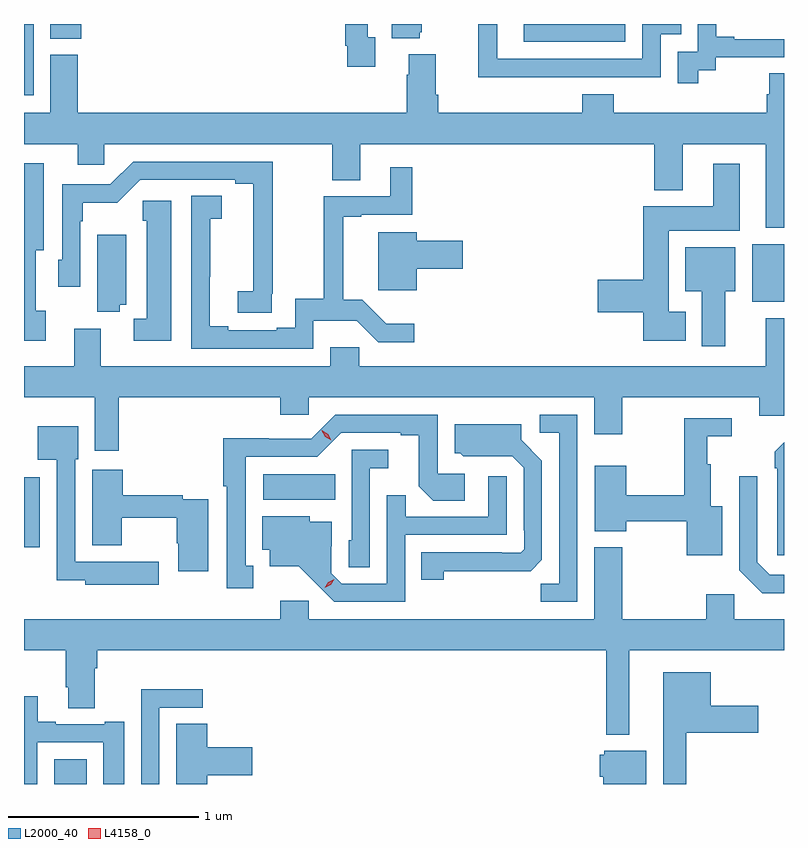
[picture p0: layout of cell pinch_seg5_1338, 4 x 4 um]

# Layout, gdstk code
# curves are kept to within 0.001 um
import gdstk
lib = gdstk.Library(unit=1e-6, precision=1e-09)
def R(c, l, rs):  # rectangles x0, y0, x1, y1
    for r in rs: c.add(gdstk.rectangle(r[:2], r[2:], *l))
def P(c, l, *ps):  # polygons
    for p in ps: c.add(gdstk.Polygon(p, *l))
L2000_40 = (2000, 40)
L4158_0 = (4158, 0)

pinch_seg5_1338 = lib.new_cell('pinch_seg5_1338')
R(pinch_seg5_1338, L2000_40, [(299.003,881.364,299.173,881.494), (298.843,882.609,298.927,882.979), (300.102,882.86,300.482,882.994), (302.675,883.901,302.843,884.206), (298.843,884.99,298.893,885.364), (301.473,885.27,302.007,885.364), (298.982,885.286,299.144,885.364)])
P(pinch_seg5_1338, L2000_40, [(302.392,885.121),(302.484,885.121),(302.484,885.189),(302.843,885.189),(302.843,885.285),(302.581,885.285),(302.581,885.298),(302.486,885.298),(302.486,885.364),(302.388,885.364),(302.388,885.219),(302.283,885.219),(302.283,885.051),(302.392,885.051)],
  [(300.691,885.294),(300.651,885.294),(300.651,885.364),(300.535,885.364),(300.535,885.25),(300.543,885.25),(300.543,885.138),(300.691,885.138)],
  [(301.697,885.084),(302.193,885.084),(302.193,885.309),(302.303,885.309),(302.303,885.364),(302.097,885.364),(302.097,885.18),(301.333,885.18),(301.333,885.364),(301.234,885.364),(301.234,885.083),(301.697,885.083)],
  [(300.926,885.321),(300.937,885.321),(300.937,885.364),(300.779,885.364),(300.779,885.29),(300.926,885.29)],
  [(302.843,885.104),(302.765,885.104),(302.765,884.994),(302.753,884.994),(302.753,884.896),(301.946,884.896),(301.946,884.995),(301.781,884.995),(301.781,884.896),(301.022,884.896),(301.022,884.992),(301.009,884.992),(301.009,885.205),(300.869,885.205),(300.869,885.098),(300.857,885.098),(300.857,884.896),(299.126,884.896),(299.126,885.201),(298.982,885.201),(298.982,884.896),(298.843,884.896),(298.843,884.732),(299.126,884.732),(299.126,884.622),(299.265,884.622),(299.265,884.732),(300.466,884.732),(300.466,884.542),(300.613,884.542),(300.613,884.732),(302.159,884.732),(302.159,884.489),(302.311,884.489),(302.311,884.732),(302.747,884.732),(302.747,884.291),(302.843,884.291)],
  [(300.146,883.945),(300.152,883.945),(300.152,884.64),(299.418,884.64),(299.298,884.52),(299.043,884.52),(299.043,884.124),(299.022,884.124),(299.022,883.98),(299.139,883.98),(299.139,884.327),(299.152,884.327),(299.152,884.423),(299.333,884.423),(299.454,884.544),(299.954,884.544),(299.954,884.524),(300.05,884.524),(300.049,883.958),(299.967,883.958),(299.967,883.843),(300.146,883.843)],
  [(298.957,883.854),(298.906,883.854),(298.906,884.174),(298.948,884.174),(298.948,884.632),(298.843,884.632),(298.843,883.698),(298.957,883.698)],
  [(302.326,883.849),(302.236,883.849),(302.236,884.276),(302.611,884.276),(302.611,884.629),(302.471,884.629),(302.471,884.404),(302.102,884.404),(302.102,884.018),(301.863,884.018),(301.863,883.847),(302.102,883.847),(302.102,883.697),(302.326,883.697)],
  [(300.366,883.802),(300.595,883.802),(300.708,883.689),(300.898,883.689),(300.898,883.786),(300.749,883.786),(300.623,883.912),(300.524,883.912),(300.524,884.349),(300.619,884.349),(300.619,884.361),(300.887,884.361),(300.887,884.611),(300.77,884.611),(300.77,884.457),(300.421,884.457),(300.421,883.919),(300.27,883.919),(300.27,883.766),(300.173,883.766),(300.173,883.752),(299.917,883.752),(299.917,883.772),(299.821,883.772),(299.821,884.035),(299.823,884.035),(299.823,884.339),(299.884,884.339),(299.884,884.459),(299.724,884.459),(299.724,883.656),(300.366,883.656)],
  [(299.617,884.434),(299.467,884.434),(299.467,884.328),(299.489,884.328),(299.489,883.812),(299.421,883.812),(299.421,883.697),(299.617,883.697)],
  [(300.91,884.075),(301.153,884.075),(301.153,884.222),(300.91,884.222),(300.91,884.269),(300.707,884.269),(300.707,883.964),(300.91,883.964)],
  [(299.348,883.886),(299.38,883.886),(299.38,884.254),(299.228,884.254),(299.228,883.849),(299.348,883.849)],
  [(302.533,883.958),(302.587,883.958),(302.587,884.188),(302.324,884.188),(302.324,883.958),(302.411,883.958),(302.411,883.668),(302.533,883.668)],
  [(299.342,883.4),(300.191,883.4),(300.191,883.307),(300.342,883.307),(300.342,883.4),(301.844,883.4),(301.844,883.206),(301.992,883.206),(301.992,883.4),(302.714,883.4),(302.714,883.302),(302.843,883.302),(302.843,883.816),(302.747,883.816),(302.747,883.564),(300.607,883.564),(300.607,883.662),(300.455,883.662),(300.455,883.564),(299.248,883.564),(299.248,883.759),(299.108,883.759),(299.108,883.564),(298.843,883.564),(298.843,883.4),(299.216,883.4),(299.216,883.119),(299.342,883.119)],
  [(301.755,883.308),(301.557,883.308),(301.557,883.212),(301.659,883.212),(301.659,882.419),(301.564,882.419),(301.564,882.324),(301.755,882.324)],
  [(300.049,882.513),(300.01,882.513),(300.01,883.086),(300.387,883.086),(300.513,883.212),(300.827,883.212),(300.827,883.2),(300.921,883.2),(300.921,882.932),(300.997,882.856),(301.162,882.856),(301.162,882.996),(301.02,882.996),(301.02,883.308),(300.48,883.308),(300.354,883.182),(300.132,883.182),(300.132,883.184),(299.892,883.184),(299.892,882.931),(299.909,882.931),(299.909,882.393),(300.049,882.393)],
  [(302.518,882.826),(302.458,882.826),(302.458,883.048),(302.44,883.048),(302.44,883.193),(302.569,883.193),(302.569,883.29),(302.319,883.29),(302.319,882.884),(302.014,882.884),(302.014,883.039),(301.847,883.039),(301.847,882.695),(302.014,882.695),(302.014,882.748),(302.33,882.748),(302.33,882.569),(302.518,882.569)],
  [(301.053,882.484),(301.51,882.485),(301.569,882.544),(301.569,883.066),(301.459,883.176),(301.459,883.258),(301.109,883.258),(301.109,883.104),(301.14,883.104),(301.156,883.088),(301.413,883.089),(301.473,883.029),(301.473,882.7),(301.476,882.7),(301.476,882.6),(301.458,882.582),(301.358,882.582),(301.358,882.585),(300.934,882.585),(300.934,882.438),(301.053,882.438)],
  [(299.551,882.535),(299.324,882.535),(299.324,882.534),(299.112,882.534),(299.112,883.074),(299.128,883.074),(299.128,883.246),(298.916,883.246),(298.916,883.07),(299.016,883.07),(299.016,882.437),(299.166,882.437),(299.166,882.413),(299.551,882.413)],
  [(302.843,883.163),(302.793,883.113),(302.793,883.025),(302.808,883.025),(302.808,882.567),(302.843,882.567)],
  [(300.663,883.025),(300.76,883.025),(300.76,883.122),(300.567,883.122),(300.567,882.648),(300.552,882.648),(300.552,882.505),(300.663,882.505)],
  [(299.812,882.864),(299.678,882.864),(299.678,882.884),(299.363,882.884),(299.363,883.018),(299.201,883.018),(299.201,882.62),(299.358,882.62),(299.358,882.766),(299.647,882.766),(299.647,882.631),(299.654,882.631),(299.654,882.483),(299.812,882.483)],
  [(302.843,882.465),(302.769,882.465),(302.703,882.531),(302.703,882.985),(302.607,882.985),(302.607,882.489),(302.728,882.368),(302.843,882.368)],
  [(300.849,882.675),(301.383,882.675),(301.383,882.985),(301.287,882.985),(301.287,882.771),(300.851,882.771),(300.851,882.884),(300.753,882.884),(300.753,882.417),(300.516,882.417),(300.459,882.474),(300.459,882.616),(300.463,882.616),(300.463,882.745),(300.348,882.745),(300.348,882.772),(300.098,882.772),(300.098,882.596),(300.137,882.596),(300.137,882.509),(300.289,882.509),(300.476,882.324),(300.849,882.324)],
  [(302.029,882.068),(302.843,882.068),(302.843,882.232),(302.58,882.232),(302.58,882.364),(302.434,882.364),(302.434,882.232),(301.992,882.232),(301.992,882.61),(301.844,882.61),(301.844,882.232),(300.342,882.232),(300.342,882.328),(300.191,882.328),(300.191,882.232),(298.843,882.232),(298.843,882.068),(299.063,882.068),(299.063,881.872),(299.075,881.872),(299.075,881.764),(299.215,881.764),(299.215,881.972),(299.228,881.972),(299.228,882.068),(301.908,882.068),(301.908,881.624),(302.029,881.624)],
  [(302.329,881.633),(302.707,881.633),(302.707,881.775),(302.458,881.775),(302.458,881.953),(302.207,881.953),(302.207,881.364),(302.329,881.364)],
  [(299.556,881.766),(299.785,881.766),(299.785,881.864),(299.46,881.864),(299.46,881.364),(299.556,881.364)],
  [(298.914,881.583),(299.261,881.583),(299.261,881.364),(299.371,881.364),(299.371,881.692),(299.267,881.692),(299.267,881.679),(299.011,881.679),(299.011,881.692),(298.915,881.692),(298.915,881.827),(298.843,881.827),(298.843,881.364),(298.914,881.364)],
  [(299.807,881.411),(300.043,881.411),(300.043,881.558),(299.807,881.558),(299.807,881.681),(299.645,881.681),(299.645,881.364),(299.807,881.364)],
  [(302.119,881.539),(301.896,881.539),(301.896,881.517),(301.874,881.517),(301.874,881.403),(301.892,881.403),(301.892,881.364),(302.119,881.364)])
P(pinch_seg5_1338, L4158_0, [(300.427,882.397),(300.427,882.397),(300.444,882.426),(300.475,882.441),(300.475,882.441),(300.475,882.441),(300.458,882.412),(300.427,882.397)],
  [(300.461,883.173),(300.429,883.192),(300.411,883.224),(300.411,883.225),(300.411,883.225),(300.443,883.206),(300.461,883.173),(300.461,883.173)])

lib.write_gds('pinch_seg5_1338.gds')
